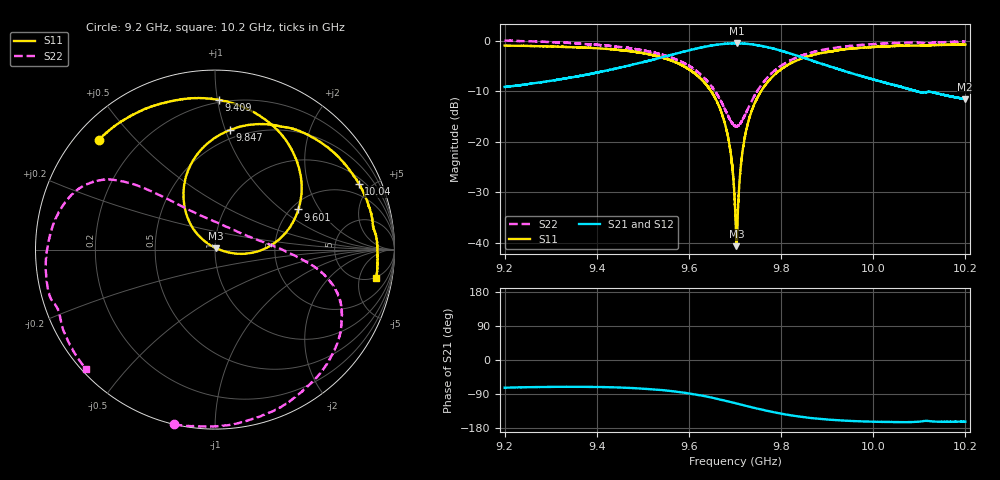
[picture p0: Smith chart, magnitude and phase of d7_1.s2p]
!Agilent Technologies,N5242A,MY51221714,A.09.90.19
!Agilent N5242A: A.09.90.19
!Date: Tuesday, March 26, 2024 16:19:57
!Correction: S11(Full 2 Port(1,2))
!S21(Full 2 Port(1,2))
!S12(Full 2 Port(1,2))
!S22(Full 2 Port(1,2))
!S2P File: Measurements: S11, S21, S12, S22:
# Hz S  dB  R 50
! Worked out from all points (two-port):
!   16001 points, 9.2 GHz to 10.2 GHz, reference 50 ohm
!   highest |S21| = -0.55 dB at 9.705 GHz (marker M1); lowest = -11.6 dB at 10.2 GHz (marker M2)
!   |S21| within 3 dB of the highest: 9.531853 GHz to 9.532101 GHz (248.1 kHz wide, 0.0026 % of centre); 9.532 GHz to 9.853 GHz (321.2 MHz wide, 3.31 % of centre)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
!   lowest |S11| = -40.6 dB at 9.703 GHz (marker M3), VSWR 1.02, Z = 50.6 + j0.719 ohm
!   |S11| at or under -10 dB: 9.648 GHz to 9.757 GHz (108.5 MHz wide, 1.12 % of centre); 9.756563 GHz to 9.756715 GHz (152.2 kHz wide, 0.00156 % of centre)
!   |S22| runs from -17.0 to 0.0 dB; largest |S21 - S12| = 0.012
!   S11 on the Smith chart (normalised r, x): 9.2 GHz: 0.07, +0.40; 9.409 GHz: 0.19, +1.01; 9.601 GHz: 2.18, +1.33; 9.847 GHz: 0.43, +1.03; 10.04 GHz: 1.28, +4.22; 10.2 GHz: 5, -9
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9.2e9  -1.01 136.6  -9.17 -73.1  -9.16 -73.9  -0.00 -103.2
9.278875e9  -1.13 119.5  -8.24 -71.3  -8.23 -72.0  -0.23 -81.7
9.366688e9  -1.37 99.1  -6.94 -70.8  -6.92 -71.4  -0.66 -58.8
9.409188e9  -1.59 88.4  -6.18 -71.3  -6.16 -72.0  -0.91 -48.2
9.533375e9  -3.16 51.4  -3.52 -78.5  -3.50 -79.1  -2.57 -21.2
9.601188e9  -5.76 25.7  -1.92 -88.4  -1.92 -89.0  -5.05 -9.6
9.643688e9  -9.43 6.8  -1.09 -97.8  -1.08 -98.4  -8.47 -0.4
9.672875e9  -14.81 -6.7  -0.70 -105.6  -0.70 -106.1  -12.56 13.8
9.690375e9  -22.02 -11.7  -0.59 -110.8  -0.57 -111.3  -15.86 37.4
9.7e9  -32.85 -0.0  -0.56 -113.7  -0.55 -114.3  -16.81 59.0
9.703e9  -40.61 49.6  -0.56 -114.7  -0.55 -115.2  -16.97 66.3
9.704562e9  -38.30 103.7  -0.55 -115.2  -0.55 -115.7  -16.91 70.3
9.718188e9  -20.79 140.6  -0.61 -119.3  -0.59 -119.9  -15.34 99.9
9.741062e9  -12.75 130.9  -0.81 -126.2  -0.81 -126.7  -11.10 125.0
9.783938e9  -6.92 110.3  -1.61 -137.8  -1.61 -138.4  -6.10 138.1
9.847188e9  -3.48 83.0  -3.36 -150.6  -3.35 -151.0  -2.88 147.0
9.866688e9  -2.93 75.7  -3.95 -153.3  -3.95 -153.9  -2.36 149.8
9.934438e9  -1.78 53.4  -5.94 -159.9  -5.95 -160.4  -1.22 161.3
1.003338e10  -1.13 26.7  -8.51 -163.5  -8.50 -164.1  -0.53 -178.1
1.004188e10  -1.10 24.6  -8.71 -163.7  -8.71 -164.2  -0.50 -176.2
1.019956e10  -0.80 -9.8  -11.58 -162.5  -11.57 -163.1  -0.19 -137.5
1.02e10  -0.79 -9.9  -11.57 -162.5  -11.58 -163.1  -0.20 -137.3
